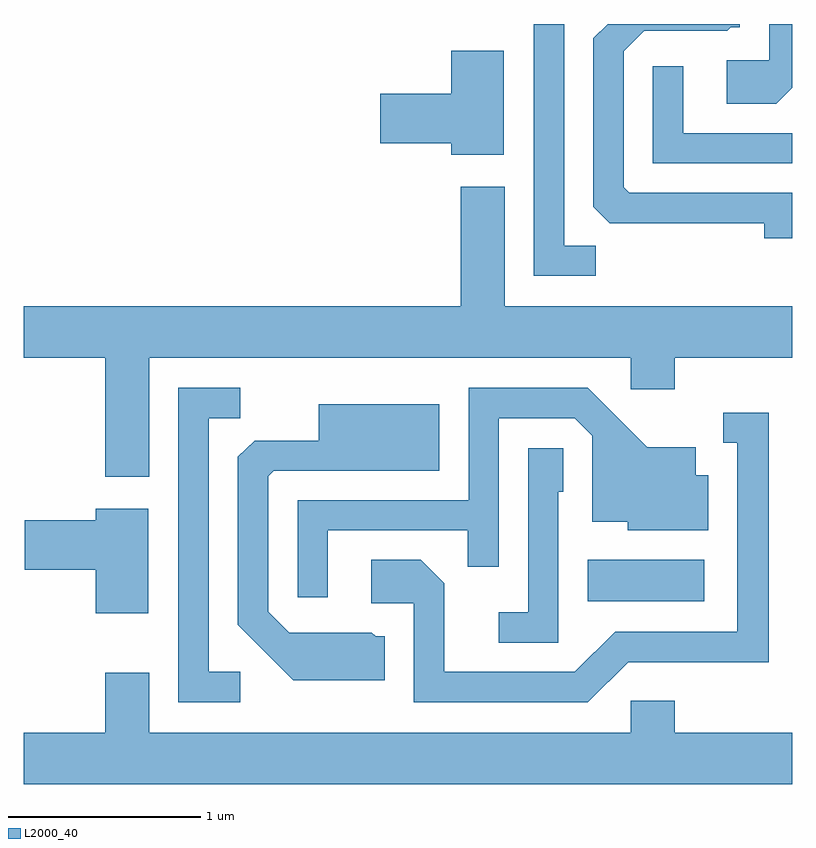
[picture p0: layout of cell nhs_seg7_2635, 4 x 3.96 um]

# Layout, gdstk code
import gdstk
lib = gdstk.Library(unit=1e-6, precision=1e-09)
def R(c, l, rs):  # rectangles x0, y0, x1, y1
    for r in rs: c.add(gdstk.rectangle(r[:2], r[2:], *l))
def P(c, l, *ps):  # polygons
    for p in ps: c.add(gdstk.Polygon(p, *l))
L2000_40 = (2000, 40)

nhs_seg7_2635 = lib.new_cell('nhs_seg7_2635')
R(nhs_seg7_2635, L2000_40, [(268.546,1735.246,269.154,1735.464)])
P(nhs_seg7_2635, L2000_40, [(268.588,1737.099),(268.424,1737.099),(268.424,1738.252),(268.266,1738.252),(268.266,1736.941),(268.588,1736.941)],
  [(269.611,1737.921),(269.611,1738.252),(269.491,1738.252),(269.491,1738.064),(269.271,1738.064),(269.271,1737.836),(269.527,1737.836)],
  [(269.611,1737.374),(268.762,1737.374),(268.734,1737.402),(268.734,1738.109),(268.842,1738.216),(269.272,1738.216),(269.292,1738.236),(269.339,1738.236),(269.339,1738.252),(268.651,1738.252),(268.576,1738.177),(268.576,1737.302),(268.662,1737.216),(269.466,1737.216),(269.466,1737.138),(269.611,1737.138)],
  [(268.109,1738.114),(267.836,1738.114),(267.836,1737.889),(267.466,1737.889),(267.466,1737.631),(267.836,1737.631),(267.836,1737.571),(268.109,1737.571)],
  [(269.611,1737.684),(269.044,1737.684),(269.044,1738.033),(268.886,1738.033),(268.886,1737.526),(269.611,1737.526)],
  [(266.264,1736.516),(268.771,1736.516),(268.771,1736.351),(268.999,1736.351),(268.999,1736.516),(269.611,1736.516),(269.611,1736.784),(268.114,1736.784),(268.114,1737.404),(267.886,1737.404),(267.886,1736.784),(265.611,1736.784),(265.611,1736.516),(266.036,1736.516),(266.036,1735.896),(266.264,1735.896)],
  [(266.738,1734.879),(266.574,1734.879),(266.574,1736.201),(266.738,1736.201),(266.738,1736.359),(266.416,1736.359),(266.416,1734.721),(266.738,1734.721)],
  [(267.194,1735.616),(267.921,1735.616),(267.921,1735.428),(268.084,1735.428),(268.084,1736.201),(268.479,1736.201),(268.571,1736.109),(268.571,1735.661),(268.756,1735.661),(268.756,1735.616),(269.174,1735.616),(269.174,1735.904),(269.109,1735.904),(269.109,1736.049),(268.857,1736.049),(268.547,1736.359),(267.926,1736.359),(267.926,1735.774),(267.036,1735.774),(267.036,1735.268),(267.194,1735.268)],
  [(267.489,1735.064),(267.442,1735.064),(267.422,1735.084),(266.992,1735.084),(266.884,1735.192),(266.884,1735.899),(266.912,1735.926),(267.774,1735.926),(267.774,1736.274),(267.146,1736.274),(267.146,1736.084),(266.812,1736.084),(266.726,1735.999),(266.726,1735.124),(267.014,1734.836),(267.489,1734.836)],
  [(268.757,1734.931),(269.489,1734.931),(269.489,1736.229),(269.253,1736.229),(269.253,1736.071),(269.326,1736.071),(269.326,1735.089),(268.689,1735.089),(268.479,1734.879),(267.799,1734.879),(267.799,1735.342),(267.677,1735.464),(267.421,1735.464),(267.421,1735.236),(267.641,1735.236),(267.641,1734.721),(268.547,1734.721)],
  [(268.394,1735.816),(268.419,1735.816),(268.419,1736.044),(268.236,1736.044),(268.236,1735.189),(268.083,1735.189),(268.083,1735.031),(268.394,1735.031)],
  [(266.259,1735.729),(265.986,1735.729),(265.986,1735.669),(265.616,1735.669),(265.616,1735.411),(265.986,1735.411),(265.986,1735.186),(266.259,1735.186)],
  [(269.611,1734.564),(268.999,1734.564),(268.999,1734.729),(268.771,1734.729),(268.771,1734.564),(266.264,1734.564),(266.264,1734.874),(266.036,1734.874),(266.036,1734.564),(265.611,1734.564),(265.611,1734.296),(269.611,1734.296)])

lib.write_gds('nhs_seg7_2635.gds')
